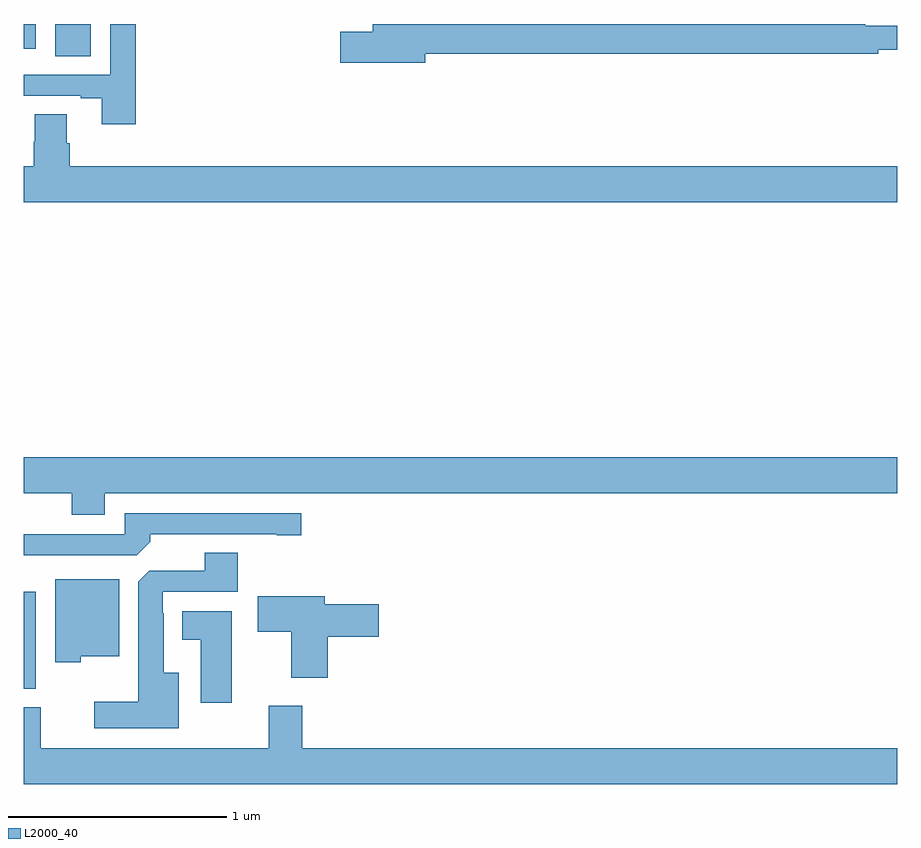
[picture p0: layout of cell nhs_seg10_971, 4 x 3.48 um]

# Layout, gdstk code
import gdstk
lib = gdstk.Library(unit=1e-6, precision=1e-09)
def R(c, l, rs):  # rectangles x0, y0, x1, y1
    for r in rs: c.add(gdstk.rectangle(r[:2], r[2:], *l))
def P(c, l, *ps):  # polygons
    for p in ps: c.add(gdstk.Polygon(p, *l))
L2000_40 = (2000, 40)

nhs_seg10_971 = lib.new_cell('nhs_seg10_971')
R(nhs_seg10_971, L2000_40, [(161,1263.457,161.056,1263.901), (161.144,1266.352,161.308,1266.5), (161,1266.387,161.056,1266.5)])
P(nhs_seg10_971, L2000_40, [(162.838,1266.364),(164.912,1266.364),(164.912,1266.383),(165,1266.383),(165,1266.493),(164.854,1266.493),(164.854,1266.5),(162.599,1266.5),(162.599,1266.464),(162.45,1266.464),(162.45,1266.322),(162.838,1266.322)],
  [(161.513,1266.5),(161.397,1266.5),(161.397,1266.267),(161,1266.267),(161,1266.171),(161.261,1266.171),(161.261,1266.159),(161.357,1266.159),(161.357,1266.042),(161.513,1266.042)],
  [(165,1265.848),(161.21,1265.848),(161.21,1265.954),(161.197,1265.954),(161.197,1266.086),(161.05,1266.086),(161.05,1265.961),(161.045,1265.961),(161.045,1265.848),(161,1265.848),(161,1265.684),(165,1265.684)],
  [(161.371,1264.352),(165,1264.352),(165,1264.516),(161,1264.516),(161,1264.352),(161.219,1264.352),(161.219,1264.253),(161.371,1264.253)],
  [(161.579,1264.13),(161.579,1264.164),(162.158,1264.164),(162.158,1264.159),(162.271,1264.159),(162.271,1264.26),(161.463,1264.26),(161.463,1264.164),(161,1264.164),(161,1264.068),(161.517,1264.068)],
  [(161.71,1263.529),(161.641,1263.529),(161.641,1263.803),(161.637,1263.803),(161.637,1263.9),(161.981,1263.9),(161.981,1264.079),(161.828,1264.079),(161.828,1263.996),(161.574,1263.996),(161.525,1263.947),(161.525,1263.397),(161.322,1263.397),(161.322,1263.275),(161.71,1263.275)],
  [(161.262,1263.605),(161.437,1263.605),(161.437,1263.958),(161.144,1263.958),(161.144,1263.578),(161.262,1263.578)],
  [(162.392,1263.695),(162.625,1263.695),(162.625,1263.842),(162.379,1263.842),(162.379,1263.88),(162.072,1263.88),(162.072,1263.718),(162.224,1263.718),(162.224,1263.507),(162.392,1263.507)],
  [(161.953,1263.811),(161.726,1263.811),(161.726,1263.68),(161.81,1263.68),(161.81,1263.393),(161.953,1263.393)],
  [(165,1263.184),(162.275,1263.184),(162.275,1263.379),(162.122,1263.379),(162.122,1263.184),(161.077,1263.184),(161.077,1263.372),(161,1263.372),(161,1263.02),(165,1263.02)])

lib.write_gds('nhs_seg10_971.gds')
